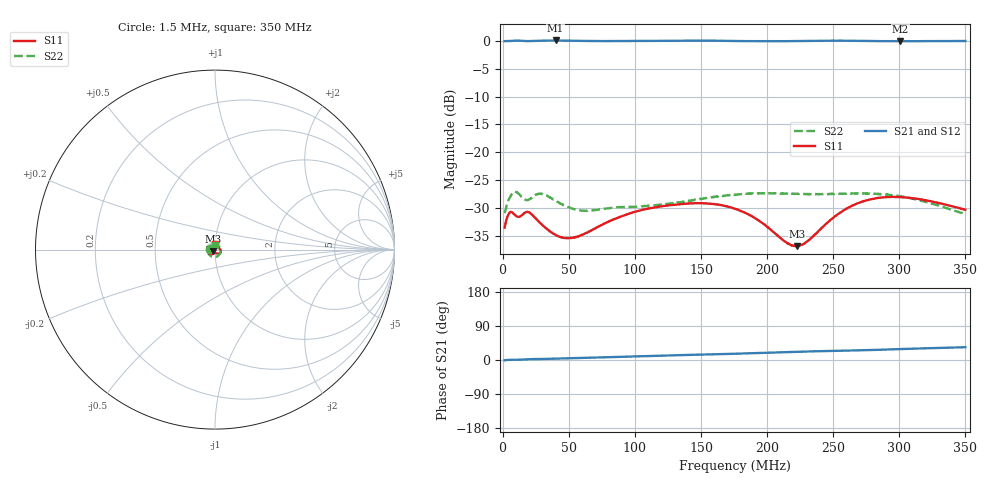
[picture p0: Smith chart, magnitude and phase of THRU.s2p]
# Hz S RI R 50
! RAW DATA - UNCALIBRATED
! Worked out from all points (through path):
!   1601 points, 1.5 MHz to 350 MHz, reference 50 ohm
!   highest |S21| = 0.07 dB at 40.05 MHz (marker M1); lowest = -0.1 dB at 300.8 MHz (marker M2)
!   lowest |S11| = -36.9 dB at 222.6 MHz (marker M3), VSWR 1.03, Z = 48.9 - j0.937 ohm
!   |S11| at or under -10 dB: start of sweep to end of sweep
!   |S22| runs from -31.1 to -27.1 dB; largest |S21 - S12| = 0.044
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1500000  -0.0211 0.000399  0.9932 -0.0158  0.9922 -0.0282  -0.0284 0.00123
5202812  -0.0286 0.00235  0.9958 0.00684  0.9936 -0.000122  -0.0387 -0.00109
8687812  -0.0264 0.00869  1.002 0.0127  0.9887 0.00928  -0.0431 0.00831
1.239062e7  -0.0243 0.0102  1.003 0.0132  0.9904 0.0195  -0.0384 0.0176
1.914281e7  -0.0222 0.0188  0.9937 0.0331  0.995 0.0298  -0.0316 0.0199
2.850875e7  -0.0082 0.0216  1.001 0.047  0.9888 0.0443  -0.0268 0.0329
4.005281e7  0.00064 0.0182  1.006 0.0637  0.9962 0.0725  -0.00837 0.0358
4.876531e7  0.00485 0.0163  1.002 0.0772  0.9988 0.0863  -0.0007 0.0325
5.965594e7  0.0104 0.0148  0.9944 0.0963  0.9919 0.1019  0.00551 0.0294
8.971406e7  0.026 0.00536  0.9858 0.1445  0.9744 0.1546  0.0271 0.0175
1.178119e8  0.0319 -0.0058  0.981 0.1919  0.9691 0.2053  0.0323 -0.00961
1.502659e8  0.0313 -0.0153  0.9736 0.2473  0.9623 0.2697  0.0185 -0.0335
1.7575e8  0.0225 -0.0214  0.9547 0.2827  0.9449 0.3071  -0.000755 -0.0416
1.923038e8  0.012 -0.022  0.9436 0.3118  0.9316 0.3345  -0.0154 -0.0399
2.151741e8  -0.00551 -0.0142  0.9288 0.3524  0.9156 0.3782  -0.0334 -0.0267
2.225797e8  -0.0107 -0.00957  0.9249 0.366  0.9113 0.3928  -0.0375 -0.0197
2.339059e8  -0.0172 -0.000665  0.9202 0.3858  0.9062 0.4137  -0.0413 -0.00772
2.491528e8  -0.0217 0.0131  0.9153 0.408  0.9007 0.4371  -0.0411 0.00981
2.622216e8  -0.0213 0.0241  0.9081 0.4221  0.892 0.4529  -0.0358 0.0232
2.920619e8  -0.0115 0.0379  0.877 0.463  0.8588 0.4964  -0.0152 0.0386
3.007744e8  -0.00822 0.0387  0.8674 0.4778  0.8497 0.511  -0.00984 0.039
3.5e8  0.00173 0.0304  0.8289 0.5533  0.8055 0.5901  0.00158 0.0279
